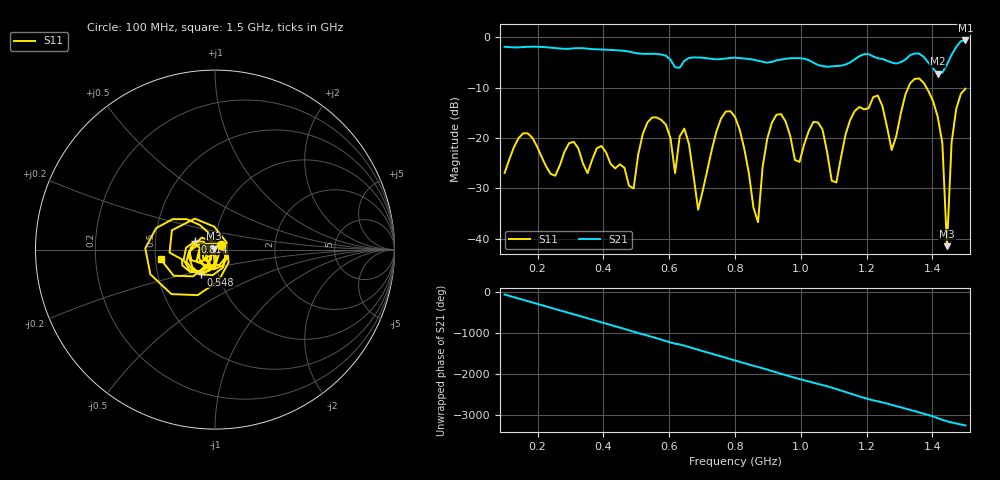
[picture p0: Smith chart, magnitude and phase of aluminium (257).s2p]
! NanoVNA-App
! Date: 2025-09-25 14:57:17
! Start: 100MHz Stop: 1,5GHz Points: 101
! S-Parameter data: F S11 S21 S12 S22
# Hz S RI R 50
!  Frequency  S11_Real  S11_Imag  S21_Real  S21_Imag  S12_Real  S12_Imag  S22_Real  S22_Imag
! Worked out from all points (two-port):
!   101 points, 100 MHz to 1.5 GHz, reference 50 ohm
!   highest |S21| = -0.66 dB at 1.5 GHz (marker M1); lowest = -7.2 dB at 1.416 GHz (marker M2)
!   |S21| within 3 dB of the highest: start of sweep to 588.5 MHz; 1.457 GHz to end of sweep (the widest 2 of 4)
!   lowest |S11| = -41.5 dB at 1.444 GHz (marker M3), VSWR 1.02, Z = 49.3 + j0.488 ohm
!   |S11| at or under -10 dB: start of sweep to 1.327 GHz; 1.382 GHz to end of sweep
!   S12 and S22 are empty: the file has one direction only
!   S11 on the Smith chart (normalised r, x): 100 MHz: 1.07, +0.06; 548 MHz: 0.82, -0.23; 814 MHz: 0.79, +0.07; 1.5 GHz: 0.53, -0.06
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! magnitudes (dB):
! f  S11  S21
! 100 MHz  -27.0  -1.9
! 338 MHz  -25.1  -2.2
! 492 MHz  -30.0  -3.1
! 548 MHz  -16.0  -3.3
! 576 MHz  -16.4  -3.5
! 618 MHz  -27.0  -6.0
! 646 MHz  -18.2  -4.7
! 688 MHz  -34.3  -4.1
! 800 MHz  -15.8  -4.1
! 814 MHz  -18.3  -4.2
! 870 MHz  -36.7  -4.7
! 912 MHz  -17.0  -4.9
! 996 MHz  -24.8  -4.2
! 1.038 GHz  -16.8  -5.1
! 1.108 GHz  -28.8  -5.7
! 1.22 GHz  -11.9  -3.8
! 1.276 GHz  -22.4  -5.1
! 1.346 GHz  -8.3  -3.3
! 1.416 GHz  -15.9  -7.2
! 1.444 GHz  -41.5  -5.4
! 1.458 GHz  -21.0  -3.5
! 1.5 GHz  -10.3  -0.7
